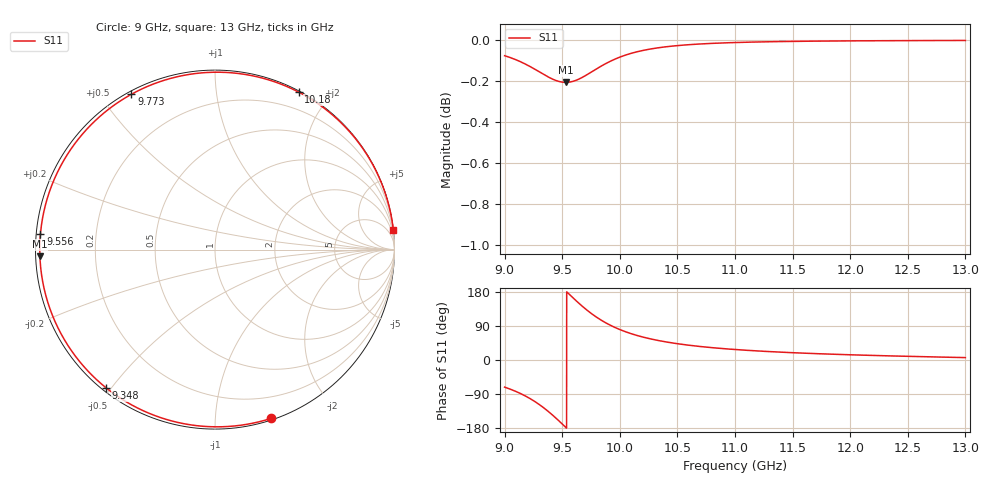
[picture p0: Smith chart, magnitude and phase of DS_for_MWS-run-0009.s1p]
! TOUCHSTONE file generated by CST DESIGN STUDIO
! Date and time: Tue Feb  4 15:47:24 2025
! Project name: C:\Work\MatlabApps\UnitCellOptimizationMatlab\CST\unitcell.cst
! Tree item: Tasks\Sweep1\SPara1\S-Parameters
! Header version: 2024
! Port assignment regex: !\s*Touchstone port\s*([0-9]+)\s*=\s*(CST MWS port|CST DES external port|CST DES block port)\s*(.+)\s* \(\"(.*)\"\)(\s*mode\s*([0-9]+))?.*
! Touchstone port assignment:
! Touchstone port 1 = CST DES external port 1 ("")
# GHz S MA R 50
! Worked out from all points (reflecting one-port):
!   4001 points, 9 GHz to 13 GHz, reference 50 ohm
!   lowest |S11| = -0.2 dB at 9.531 GHz (marker M1), VSWR 83.61, Z = 0.598 - j0.974 ohm
!   phase of S11 starts at -72 deg and turns -282 deg over the sweep
!   S11 on the Smith chart (normalised r, x): 9 GHz: 0.01, -1.39; 9.348 GHz: 0.01, -0.49; 9.556 GHz: 0.01, +0.04; 9.773 GHz: 0.01, +0.60; 10.18 GHz: 0.01, +1.66; 13 GHz: 0, +18
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9  0.991 -71.6
9.097  0.9888 -82.9
9.205  0.9856 -99.1
9.28  0.9829 -113.1
9.348  0.9804 -128.2
9.42  0.978 -146.4
9.462  0.977 -157.9
9.5  0.9765 -168.8
9.531  0.9764 -177.8
9.556  0.9765 174.9
9.61  0.9773 159.4
9.671  0.979 142.7
9.722  0.9808 129.9
9.773  0.9828 118.3
9.821  0.9846 108.4
9.873  0.9865 99.0
9.932  0.9884 89.6
10  0.9903 80.4
10.087  0.9921 70.6
10.181  0.9937 62.1
10.327  0.9954 51.9
10.5  0.9967 43.0
10.721  0.9977 34.9
11  0.9984 27.7
11.5  0.999 19.3
12  0.9993 13.7
12.5  0.9995 9.7
13  0.9995 6.4
